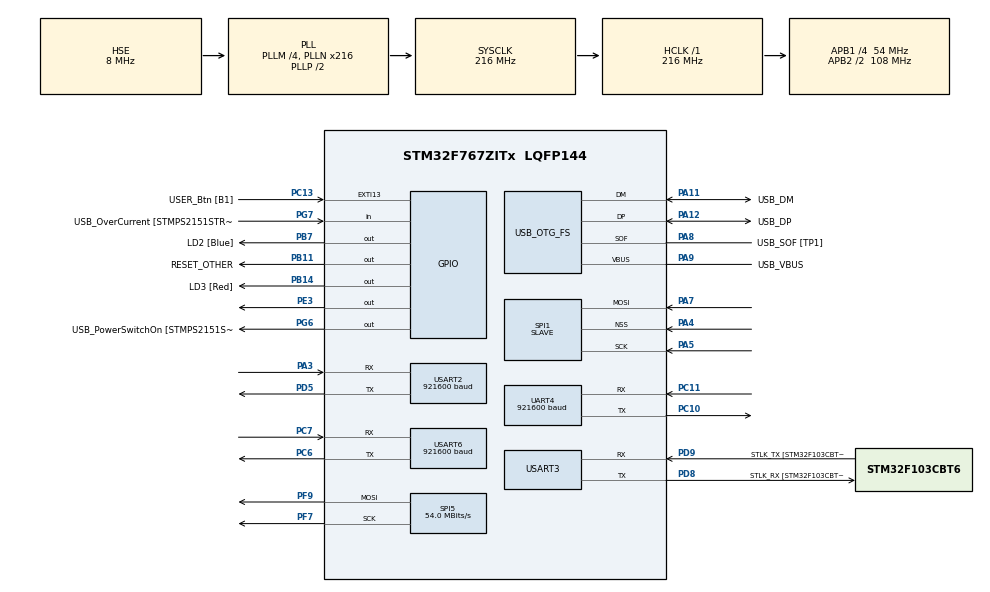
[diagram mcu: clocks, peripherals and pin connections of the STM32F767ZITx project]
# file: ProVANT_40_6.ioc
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Dma.Request0=USART6_RX
Dma.Request1=SPI1_RX
Dma.Request2=USART2_RX
Dma.Request3=UART4_RX
Dma.SPI1_RX.1.Direction=DMA_PERIPH_TO_MEMORY
Dma.SPI1_RX.1.FIFOMode=DMA_FIFOMODE_DISABLE
Dma.SPI1_RX.1.Instance=DMA2_Stream0
Dma.SPI1_RX.1.MemDataAlignment=DMA_MDATAALIGN_BYTE
Dma.SPI1_RX.1.MemInc=DMA_MINC_ENABLE
Dma.SPI1_RX.1.Mode=DMA_NORMAL
Dma.SPI1_RX.1.PeriphDataAlignment=DMA_PDATAALIGN_BYTE
Dma.SPI1_RX.1.PeriphInc=DMA_PINC_DISABLE
Dma.SPI1_RX.1.Priority=DMA_PRIORITY_LOW
Dma.UART4_RX.3.Direction=DMA_PERIPH_TO_MEMORY
Dma.UART4_RX.3.FIFOMode=DMA_FIFOMODE_DISABLE
Dma.UART4_RX.3.Instance=DMA1_Stream2
Dma.UART4_RX.3.MemDataAlignment=DMA_MDATAALIGN_BYTE
Dma.UART4_RX.3.MemInc=DMA_MINC_ENABLE
Dma.UART4_RX.3.Mode=DMA_NORMAL
Dma.UART4_RX.3.PeriphDataAlignment=DMA_PDATAALIGN_BYTE
Dma.UART4_RX.3.PeriphInc=DMA_PINC_DISABLE
Dma.UART4_RX.3.Priority=DMA_PRIORITY_LOW
Dma.USART2_RX.2.Direction=DMA_PERIPH_TO_MEMORY
Dma.USART2_RX.2.FIFOMode=DMA_FIFOMODE_DISABLE
Dma.USART2_RX.2.Instance=DMA1_Stream5
Dma.USART2_RX.2.MemDataAlignment=DMA_MDATAALIGN_BYTE
Dma.USART2_RX.2.MemInc=DMA_MINC_ENABLE
Dma.USART2_RX.2.Mode=DMA_NORMAL
Dma.USART2_RX.2.PeriphDataAlignment=DMA_PDATAALIGN_BYTE
Dma.USART2_RX.2.PeriphInc=DMA_PINC_DISABLE
Dma.USART2_RX.2.Priority=DMA_PRIORITY_LOW
Dma.USART6_RX.0.Direction=DMA_PERIPH_TO_MEMORY
Dma.USART6_RX.0.FIFOMode=DMA_FIFOMODE_ENABLE
Dma.USART6_RX.0.FIFOThreshold=DMA_FIFO_THRESHOLD_FULL
Dma.USART6_RX.0.Instance=DMA2_Stream1
Dma.USART6_RX.0.MemBurst=DMA_MBURST_SINGLE
Dma.USART6_RX.0.MemDataAlignment=DMA_MDATAALIGN_BYTE
Dma.USART6_RX.0.MemInc=DMA_MINC_ENABLE
Dma.USART6_RX.0.Mode=DMA_NORMAL
Dma.USART6_RX.0.PeriphBurst=DMA_PBURST_SINGLE
Dma.USART6_RX.0.PeriphDataAlignment=DMA_PDATAALIGN_BYTE
Dma.USART6_RX.0.PeriphInc=DMA_PINC_DISABLE
Dma.USART6_RX.0.Priority=DMA_PRIORITY_VERY_HIGH
FREERTOS.INCLUDE_vTaskDelayUntil=1
FREERTOS.Tasks01=defaultTask,-2,128,StartDefaultTask,Default,NULL,Dynamic,NULL,NULL;ControllerTask,0,512,Controller,Default,NULL,Dynamic,NULL,NULL
Mcu.Family=STM32F7
Mcu.Name=STM32F767ZITx
Mcu.Package=LQFP144
NVIC.DMA1_Stream2_IRQn=true\:5\:0\:false\:false\:true\:true\:false\:true
NVIC.DMA1_Stream5_IRQn=true\:5\:0\:false\:false\:true\:true\:false\:true
NVIC.DMA2_Stream0_IRQn=true\:5\:0\:false\:false\:true\:true\:false\:true
NVIC.DMA2_Stream1_IRQn=true\:5\:0\:false\:false\:true\:true\:false\:true
NVIC.PriorityGroup=NVIC_PRIORITYGROUP_4
NVIC.SPI1_IRQn=true\:5\:0\:false\:false\:true\:true\:true\:true
NVIC.SPI5_IRQn=true\:5\:0\:false\:false\:true\:true\:true\:true
NVIC.TIM1_UP_TIM10_IRQn=true\:0\:0\:false\:false\:true\:false\:false\:true
NVIC.TimeBase=TIM1_UP_TIM10_IRQn
NVIC.TimeBaseIP=TIM1
NVIC.UART4_IRQn=true\:5\:0\:false\:false\:true\:true\:true\:true
NVIC.USART6_IRQn=true\:5\:0\:true\:false\:true\:false\:true\:true
PA1.GPIO_Label=RMII_REF_CLK [LAN8742A-CZ-TR_REFCLK0]
PA1.Signal=ETH_REF_CLK
PA10.GPIO_Label=USB_ID
PA10.Signal=USB_OTG_FS_ID
PA11.GPIO_Label=USB_DM
PA11.Mode=Device_Only
PA11.Signal=USB_OTG_FS_DM
PA12.GPIO_Label=USB_DP
PA12.Mode=Device_Only
PA12.Signal=USB_OTG_FS_DP
PA13.GPIO_Label=TMS
PA13.Mode=Serial_Wire
PA13.Signal=SYS_JTMS-SWDIO
PA14.GPIO_Label=TCK
PA14.Mode=Serial_Wire
PA14.Signal=SYS_JTCK-SWCLK
PA2.GPIO_Label=RMII_MDIO [LAN8742A-CZ-TR_MDIO]
PA2.Signal=ETH_MDIO
PA3.Mode=Asynchronous
PA3.Signal=USART2_RX
PA4.Mode=NSS_Signal_Hard_Input
PA4.Signal=SPI1_NSS
PA5.Mode=RX_Only_Simplex_Unidirect_Slave
PA5.Signal=SPI1_SCK
PA7.Mode=RX_Only_Simplex_Unidirect_Slave
PA7.Signal=SPI1_MOSI
PA8.GPIO_Label=USB_SOF [TP1]
PA8.Mode=Activate_SOF_FS
PA8.Signal=USB_OTG_FS_SOF
PA9.GPIO_Label=USB_VBUS
PA9.Mode=Activate_VBUS
PA9.Signal=USB_OTG_FS_VBUS
PB11.GPIO_Label=RESET_OTHER
PB11.GPIO_Speed=GPIO_SPEED_FREQ_LOW
PB11.PinState=GPIO_PIN_SET
PB11.Signal=GPIO_Output
PB13.GPIO_Label=RMII_TXD1 [LAN8742A-CZ-TR_TXD1]
PB13.Signal=ETH_TXD1
PB14.GPIO_Label=LD3 [Red]
PB14.Signal=GPIO_Output
PB3.GPIO_Label=SWO
PB3.Signal=SYS_JTDO-SWO
PB7.GPIO_Label=LD2 [Blue]
PB7.Signal=GPIO_Output
PC1.GPIO_Label=RMII_MDC [LAN8742A-CZ-TR_MDC]
PC1.Signal=ETH_MDC
PC10.Mode=Asynchronous
PC10.Signal=UART4_TX
PC11.Mode=Asynchronous
PC11.Signal=UART4_RX
PC13.GPIO_Label=USER_Btn [B1]
PC13.Signal=GPXTI13
PC14/OSC32_IN.Mode=LSE-External-Oscillator
PC14/OSC32_IN.Signal=RCC_OSC32_IN
PC15/OSC32_OUT.Mode=LSE-External-Oscillator
PC15/OSC32_OUT.Signal=RCC_OSC32_OUT
PC4.GPIO_Label=RMII_RXD0 [LAN8742A-CZ-TR_RXD0]
PC4.Signal=ETH_RXD0
PC5.GPIO_Label=RMII_RXD1 [LAN8742A-CZ-TR_RXD1]
PC5.Signal=ETH_RXD1
PC6.GPIO_PuPd=GPIO_NOPULL
PC6.Mode=Asynchronous
PC6.Signal=USART6_TX
PC7.GPIO_PuPd=GPIO_PULLDOWN
PC7.Mode=Asynchronous
PC7.Signal=USART6_RX
PD5.Mode=Asynchronous
PD5.Signal=USART2_TX
PD8.GPIO_Label=STLK_RX [STM32F103CBT6_PA3]
PD8.Mode=Asynchronous
PD8.Signal=USART3_TX
PD9.GPIO_Label=STLK_TX [STM32F103CBT6_PA2]
PD9.Mode=Asynchronous
PD9.Signal=USART3_RX
PE3.PinState=GPIO_PIN_SET
PE3.Signal=GPIO_Output
PF7.Mode=TX_Only_Simplex_Unidirect_Master
PF7.Signal=SPI5_SCK
PF9.Mode=TX_Only_Simplex_Unidirect_Master
PF9.Signal=SPI5_MOSI
PG11.GPIO_Label=RMII_TX_EN [LAN8742A-CZ-TR_TXEN]
PG11.Signal=ETH_TX_EN
PG13.GPIO_Label=RMII_TXD0 [LAN8742A-CZ-TR_TXD0]
PG13.Signal=ETH_TXD0
PG6.GPIO_Label=USB_PowerSwitchOn [STMPS2151STR_EN]
PG6.Signal=GPIO_Output
PG7.GPIO_Label=USB_OverCurrent [STMPS2151STR_FAULT]
PG7.Signal=GPIO_Input
PH0/OSC_IN.GPIO_Label=MCO [STM32F103CBT6_PA8]
PH0/OSC_IN.Mode=HSE-External-Clock-Source
PH0/OSC_IN.Signal=RCC_OSC_IN
PH1/OSC_OUT.Mode=HSE-External-Clock-Source
PH1/OSC_OUT.Signal=RCC_OSC_OUT
ProjectManager.HeapSize=0x200
ProjectManager.StackSize=0x400
ProjectManager.TargetToolchain=SW4STM32
RCC.48MHZClocksFreq_Value=24000000
RCC.AHBFreq_Value=216000000
RCC.APB1CLKDivider=RCC_HCLK_DIV4
RCC.APB1Freq_Value=54000000
RCC.APB1TimFreq_Value=108000000
RCC.APB2CLKDivider=RCC_HCLK_DIV2
RCC.APB2Freq_Value=108000000
RCC.APB2TimFreq_Value=216000000
RCC.CortexFreq_Value=216000000
RCC.HCLKFreq_Value=216000000
RCC.HSE_VALUE=8000000
RCC.HSI_VALUE=16000000
RCC.PLLM=4
RCC.PLLMUL=RCC_PLL_MUL9
RCC.PLLN=216
RCC.PLLQ=9
RCC.PRESCALERUSB=RCC_USBCLKSOURCE_PLL_DIV1_5
RCC.SYSCLKFreq_VALUE=216000000
RCC.SYSCLKSource=RCC_SYSCLKSOURCE_PLLCLK
RCC.SYSCLKSourceVirtual=RCC_SYSCLKSOURCE_PLLCLK
RCC.USBFreq_Value=48000000
RCC.VCOOutputFreq_Value=432000000
SPI1.DataSize=SPI_DATASIZE_8BIT
SPI1.Direction=SPI_DIRECTION_2LINES_RXONLY
SPI1.Mode=SPI_MODE_SLAVE
SPI1.VirtualNSS=VM_NSSHARD
SPI1.VirtualType=VM_SLAVE
SPI5.CalculateBaudRate=54.0 MBits/s
SPI5.DataSize=SPI_DATASIZE_8BIT
SPI5.Direction=SPI_DIRECTION_2LINES
SPI5.Mode=SPI_MODE_MASTER
SPI5.VirtualType=VM_MASTER
UART4.BaudRate=921600
USART2.BaudRate=921600
USART2.VirtualMode-Asynchronous=VM_ASYNC
USART3.VirtualMode-Asynchronous=VM_ASYNC
USART6.BaudRate=921600
USART6.VirtualMode-Asynchronous=VM_ASYNC
USB_OTG_FS.VirtualMode=Device_Only
VP_FREERTOS_VS_CMSIS_V1.Mode=CMSIS_V1
VP_SYS_VS_tim1.Mode=TIM1
board=NUCLEO-F767ZI

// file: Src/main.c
/* USER CODE BEGIN Header */
/**
  ******************************************************************************
  * @file           : main.c
  * @brief          : Main program body
  ******************************************************************************
  * @attention
  *
  * <h2><center>&copy; Copyright (c) 2019 STMicroelectronics.
  * All rights reserved.</center></h2>
  *
  * This software component is licensed by ST under BSD 3-Clause license,
  * the "License"; You may not use this file except in compliance with the
  * License. You may obtain a copy of the License at:
  *                        opensource.org/licenses/BSD-3-Clause
  *
  ******************************************************************************
  */
/* USER CODE END Header */

#include <HIL&Jetson protocol/c_common_frame.h>
#include <HIL&Jetson protocol/uart.h>
#include "main.h"
#include "cmsis_os.h"

/* USER CODE BEGIN Includes */
#include "pv_typedefs.h"
#include "LQR4.h"
#include <stdio.h>
#include <stdlib.h>
/* USER CODE END Includes */

/* USER CODE BEGIN PD */
#define MODULE_PERIOD	   10

/* USER CODE END PD */

SPI_HandleTypeDef hspi1;
SPI_HandleTypeDef hspi5;
DMA_HandleTypeDef hdma_spi1_rx;

UART_HandleTypeDef huart4;
UART_HandleTypeDef huart2;
UART_HandleTypeDef huart3;
UART_HandleTypeDef huart6;
DMA_HandleTypeDef hdma_uart4_rx;
DMA_HandleTypeDef hdma_usart2_rx;
DMA_HandleTypeDef hdma_usart6_rx;

PCD_HandleTypeDef hpcd_USB_OTG_FS;

osThreadId defaultTaskHandle;
osThreadId ControllerTaskHandle;
/* USER CODE BEGIN PV */
uint8_t data_get_uart4;
unsigned char usart4_recv_buffer[RECV_BUFFER_SIZE]; //! Ring-Buffer de recebimento de USART6.
int usart4_rb_in  = 0; //! Index do Ring-Buffer para recebimento na USART6.
int usart4_rb_out = 0; //! Index para leitura do Ring-Buffer da USART6.
int usart4_available_flag = 0; //! Flag de recebimento de USART6.

uint8_t data_get_uart6;
unsigned char usart6_recv_buffer[RECV_BUFFER_SIZE]; //! Ring-Buffer de recebimento de USART6.
int usart6_rb_in  = 0; //! Index do Ring-Buffer para recebimento na USART6.
int usart6_rb_out = 0; //! Index para leitura do Ring-Buffer da USART6.
int usart6_available_flag = 0; //! Flag de recebimento de USART6.

int num = 0;
int num2 = 0;
int num3[100];
float low = 0.0; // variável cque define o nivel de embarcado que executa lei de controle (1 = baixo nivel, 0 = alto nivel)
int boss = 0; // indica se a placa será a placa primária

Frame c_io_protocolP2P_receive6();
Frame c_io_protocolP2P_receive4();
int c_common_usart_available6();
int c_common_usart_available4();
unsigned char c_common_usart_read6();
unsigned char c_common_usart_read4();

pv_msg_controlOutput ControlOutputData;
pv_msg_controlOutput ControlOutputData2;

/* USER CODE END PV */

void SystemClock_Config(void);
static void MX_GPIO_Init(void);
static void MX_DMA_Init(void);
static void MX_USART6_UART_Init(void);
static void MX_USB_OTG_FS_PCD_Init(void);
static void MX_USART3_UART_Init(void);
static void MX_SPI1_Init(void);
static void MX_SPI5_Init(void);
static void MX_USART2_UART_Init(void);
static void MX_UART4_Init(void);
void StartDefaultTask(void const * argument);
void Controller(void const * argument);

/* USER CODE BEGIN PFP */
void HAL_SPI_RxCpltCallback (SPI_HandleTypeDef *hspi);
/* USER CODE END PFP */

/* USER CODE BEGIN 0 */
//extern void initialise_monitor_handles();
uint8_t buffer[200];
__IO ITStatus UartReady = RESET;
__IO ITStatus SPIReady = RESET;
uint8_t data_get;
int fault = 0;
/* USER CODE END 0 */

int main(void)
{
  /* USER CODE BEGIN 1 */
	//initialise_monitor_handles();
	//printf("Começou programa!\n");
    //DWT->CTRL |= (1 << 0); // Enable CYCCNT in DWN_CTRL
  /* USER CODE END 1 */

  /* MCU Configuration--------------------------------------------------------*/

  /* Reset of all peripherals, Initializes the Flash interface and the Systick. */
  HAL_Init();

  /* Configure the system clock */
  SystemClock_Config();

  /* Initialize all configured peripherals */
  MX_GPIO_Init();
  MX_DMA_Init();
  MX_USART6_UART_Init();
  MX_USB_OTG_FS_PCD_Init();
  MX_USART3_UART_Init();
  MX_SPI1_Init();
  MX_SPI5_Init();
  MX_USART2_UART_Init();
  MX_UART4_Init();
  /* USER CODE BEGIN 2 */
  //HAL_UART_Receive_DMA(&huart4, &data_get_uart4, 1);
  //HAL_UART_Receive_DMA(&huart6, &data_get_uart6, 1);
  HAL_GPIO_WritePin(GPIOB, LD2_Pin, GPIO_PIN_SET);
  /* USER CODE END 2 */

  /* Create the thread(s) */
  /* definition and creation of defaultTask */
  //osThreadDef(defaultTask, StartDefaultTask, osPriorityLow, 0, 128);
  //defaultTaskHandle = osThreadCreate(osThread(defaultTask), NULL);

  /* definition and creation of ControllerTask */
  osThreadDef(ControllerTask, Controller, osPriorityNormal, 0, 512);
  ControllerTaskHandle = osThreadCreate(osThread(ControllerTask), NULL);

  /* Start scheduler */
  osKernelStart();

  /* We should never get here as control is now taken by the scheduler */

  /* Infinite loop */
  /* USER CODE BEGIN WHILE */
  //c_io_protocolP2P_init(&huart6);

  while (1)
  {

    /* USER CODE END WHILE */

  }
}

void SystemClock_Config(void)
{
  RCC_OscInitTypeDef RCC_OscInitStruct = {0};
  RCC_ClkInitTypeDef RCC_ClkInitStruct = {0};
  RCC_PeriphCLKInitTypeDef PeriphClkInitStruct = {0};

  /** Configure LSE Drive Capability
  */
  HAL_PWR_EnableBkUpAccess();
  /** Configure the main internal regulator output voltage
  */
  __HAL_RCC_PWR_CLK_ENABLE();
  __HAL_PWR_VOLTAGESCALING_CONFIG(PWR_REGULATOR_VOLTAGE_SCALE1);
  /** Initializes the CPU, AHB and APB busses clocks
  */
  RCC_OscInitStruct.OscillatorType = RCC_OSCILLATORTYPE_HSE;
  RCC_OscInitStruct.HSEState = RCC_HSE_BYPASS;
  RCC_OscInitStruct.PLL.PLLState = RCC_PLL_ON;
  RCC_OscInitStruct.PLL.PLLSource = RCC_PLLSOURCE_HSE;
  RCC_OscInitStruct.PLL.PLLM = 4;
  RCC_OscInitStruct.PLL.PLLN = 216;
  RCC_OscInitStruct.PLL.PLLP = RCC_PLLP_DIV2;
  RCC_OscInitStruct.PLL.PLLQ = 9;
  if (HAL_RCC_OscConfig(&RCC_OscInitStruct) != HAL_OK)
  {
    Error_Handler();
  }
  /** Activate the Over-Drive mode
  */
  if (HAL_PWREx_EnableOverDrive() != HAL_OK)
  {
    Error_Handler();
  }
  /** Initializes the CPU, AHB and APB busses clocks
  */
  RCC_ClkInitStruct.ClockType = RCC_CLOCKTYPE_HCLK|RCC_CLOCKTYPE_SYSCLK
                              |RCC_CLOCKTYPE_PCLK1|RCC_CLOCKTYPE_PCLK2;
  RCC_ClkInitStruct.SYSCLKSource = RCC_SYSCLKSOURCE_PLLCLK;
  RCC_ClkInitStruct.AHBCLKDivider = RCC_SYSCLK_DIV1;
  RCC_ClkInitStruct.APB1CLKDivider = RCC_HCLK_DIV4;
  RCC_ClkInitStruct.APB2CLKDivider = RCC_HCLK_DIV2;

  if (HAL_RCC_ClockConfig(&RCC_ClkInitStruct, FLASH_LATENCY_7) != HAL_OK)
  {
    Error_Handler();
  }
  PeriphClkInitStruct.PeriphClockSelection = RCC_PERIPHCLK_USART2|RCC_PERIPHCLK_USART3
                              |RCC_PERIPHCLK_USART6|RCC_PERIPHCLK_UART4
                              |RCC_PERIPHCLK_CLK48;
  PeriphClkInitStruct.Usart2ClockSelection = RCC_USART2CLKSOURCE_PCLK1;
  PeriphClkInitStruct.Usart3ClockSelection = RCC_USART3CLKSOURCE_PCLK1;
  PeriphClkInitStruct.Uart4ClockSelection = RCC_UART4CLKSOURCE_PCLK1;
  PeriphClkInitStruct.Usart6ClockSelection = RCC_USART6CLKSOURCE_PCLK2;
  PeriphClkInitStruct.Clk48ClockSelection = RCC_CLK48SOURCE_PLL;
  if (HAL_RCCEx_PeriphCLKConfig(&PeriphClkInitStruct) != HAL_OK)
  {
    Error_Handler();
  }
}

static void MX_SPI1_Init(void)
{

  /* SPI1 parameter configuration*/
  hspi1.Instance = SPI1;
  hspi1.Init.Mode = SPI_MODE_SLAVE;
  hspi1.Init.Direction = SPI_DIRECTION_2LINES_RXONLY;
  hspi1.Init.DataSize = SPI_DATASIZE_8BIT;
  hspi1.Init.CLKPolarity = SPI_POLARITY_LOW;
  hspi1.Init.CLKPhase = SPI_PHASE_1EDGE;
  hspi1.Init.NSS = SPI_NSS_HARD_INPUT;
  hspi1.Init.FirstBit = SPI_FIRSTBIT_MSB;
  hspi1.Init.TIMode = SPI_TIMODE_DISABLE;
  hspi1.Init.CRCCalculation = SPI_CRCCALCULATION_DISABLE;
  hspi1.Init.CRCPolynomial = 7;
  hspi1.Init.CRCLength = SPI_CRC_LENGTH_DATASIZE;
  hspi1.Init.NSSPMode = SPI_NSS_PULSE_DISABLE;
  if (HAL_SPI_Init(&hspi1) != HAL_OK)
  {
    Error_Handler();
  }

}

static void MX_SPI5_Init(void)
{

  /* SPI5 parameter configuration*/
  hspi5.Instance = SPI5;
  hspi5.Init.Mode = SPI_MODE_MASTER;
  hspi5.Init.Direction = SPI_DIRECTION_2LINES;
  hspi5.Init.DataSize = SPI_DATASIZE_8BIT;
  hspi5.Init.CLKPolarity = SPI_POLARITY_LOW;
  hspi5.Init.CLKPhase = SPI_PHASE_1EDGE;
  hspi5.Init.NSS = SPI_NSS_SOFT;
  hspi5.Init.BaudRatePrescaler = SPI_BAUDRATEPRESCALER_2;
  hspi5.Init.FirstBit = SPI_FIRSTBIT_MSB;
  hspi5.Init.TIMode = SPI_TIMODE_DISABLE;
  hspi5.Init.CRCCalculation = SPI_CRCCALCULATION_DISABLE;
  hspi5.Init.CRCPolynomial = 7;
  hspi5.Init.CRCLength = SPI_CRC_LENGTH_DATASIZE;
  hspi5.Init.NSSPMode = SPI_NSS_PULSE_ENABLE;
  if (HAL_SPI_Init(&hspi5) != HAL_OK)
  {
    Error_Handler();
  }

}

static void MX_UART4_Init(void)
{

  huart4.Instance = UART4;
  //huart4.Init.BaudRate = 921600;
  huart4.Init.BaudRate = 460800;
  huart4.Init.WordLength = UART_WORDLENGTH_8B;
  huart4.Init.StopBits = UART_STOPBITS_1;
  huart4.Init.Parity = UART_PARITY_NONE;
  huart4.Init.Mode = UART_MODE_TX_RX;
  huart4.Init.HwFlowCtl = UART_HWCONTROL_NONE;
  huart4.Init.OverSampling = UART_OVERSAMPLING_16;
  huart4.Init.OneBitSampling = UART_ONE_BIT_SAMPLE_DISABLE;
  huart4.AdvancedInit.AdvFeatureInit = UART_ADVFEATURE_NO_INIT;
  if (HAL_UART_Init(&huart4) != HAL_OK)
  {
    Error_Handler();
  }

}

static void MX_USART2_UART_Init(void)
{

  huart2.Instance = USART2;
  huart2.Init.BaudRate = 921600;
  huart2.Init.WordLength = UART_WORDLENGTH_8B;
  huart2.Init.StopBits = UART_STOPBITS_1;
  huart2.Init.Parity = UART_PARITY_NONE;
  huart2.Init.Mode = UART_MODE_TX_RX;
  huart2.Init.HwFlowCtl = UART_HWCONTROL_NONE;
  huart2.Init.OverSampling = UART_OVERSAMPLING_16;
  huart2.Init.OneBitSampling = UART_ONE_BIT_SAMPLE_DISABLE;
  huart2.AdvancedInit.AdvFeatureInit = UART_ADVFEATURE_NO_INIT;
  if (HAL_UART_Init(&huart2) != HAL_OK)
  {
    Error_Handler();
  }

}

static void MX_USART3_UART_Init(void)
{

  huart3.Instance = USART3;
  huart3.Init.BaudRate = 115200;
  huart3.Init.WordLength = UART_WORDLENGTH_8B;
  huart3.Init.StopBits = UART_STOPBITS_1;
  huart3.Init.Parity = UART_PARITY_NONE;
  huart3.Init.Mode = UART_MODE_TX_RX;
  huart3.Init.HwFlowCtl = UART_HWCONTROL_NONE;
  huart3.Init.OverSampling = UART_OVERSAMPLING_16;
  huart3.Init.OneBitSampling = UART_ONE_BIT_SAMPLE_DISABLE;
  huart3.AdvancedInit.AdvFeatureInit = UART_ADVFEATURE_NO_INIT;
  if (HAL_UART_Init(&huart3) != HAL_OK)
  {
    Error_Handler();
  }

}

static void MX_USART6_UART_Init(void)
{

  huart6.Instance = USART6;
  huart6.Init.BaudRate = 921600;
  huart6.Init.WordLength = UART_WORDLENGTH_8B;
  huart6.Init.StopBits = UART_STOPBITS_1;
  huart6.Init.Parity = UART_PARITY_NONE;
  huart6.Init.Mode = UART_MODE_TX_RX;
  huart6.Init.HwFlowCtl = UART_HWCONTROL_NONE;
  huart6.Init.OverSampling = UART_OVERSAMPLING_16;
  huart6.Init.OneBitSampling = UART_ONE_BIT_SAMPLE_DISABLE;
  huart6.AdvancedInit.AdvFeatureInit = UART_ADVFEATURE_NO_INIT;
  if (HAL_UART_Init(&huart6) != HAL_OK)
  {
    Error_Handler();
  }

}

static void MX_USB_OTG_FS_PCD_Init(void)
{

  hpcd_USB_OTG_FS.Instance = USB_OTG_FS;
  hpcd_USB_OTG_FS.Init.dev_endpoints = 6;
  hpcd_USB_OTG_FS.Init.speed = PCD_SPEED_FULL;
  hpcd_USB_OTG_FS.Init.dma_enable = DISABLE;
  hpcd_USB_OTG_FS.Init.phy_itface = PCD_PHY_EMBEDDED;
  hpcd_USB_OTG_FS.Init.Sof_enable = ENABLE;
  hpcd_USB_OTG_FS.Init.low_power_enable = DISABLE;
  hpcd_USB_OTG_FS.Init.lpm_enable = DISABLE;
  hpcd_USB_OTG_FS.Init.vbus_sensing_enable = ENABLE;
  hpcd_USB_OTG_FS.Init.use_dedicated_ep1 = DISABLE;
  if (HAL_PCD_Init(&hpcd_USB_OTG_FS) != HAL_OK)
  {
    Error_Handler();
  }

}

static void MX_DMA_Init(void)
{

  /* DMA controller clock enable */
  __HAL_RCC_DMA2_CLK_ENABLE();
  __HAL_RCC_DMA1_CLK_ENABLE();

  /* DMA interrupt init */
  /* DMA1_Stream2_IRQn interrupt configuration */
  HAL_NVIC_SetPriority(DMA1_Stream2_IRQn, 5, 0);
  HAL_NVIC_EnableIRQ(DMA1_Stream2_IRQn);
  /* DMA1_Stream5_IRQn interrupt configuration */
  HAL_NVIC_SetPriority(DMA1_Stream5_IRQn, 5, 0);
  HAL_NVIC_EnableIRQ(DMA1_Stream5_IRQn);
  /* DMA2_Stream0_IRQn interrupt configuration */
  HAL_NVIC_SetPriority(DMA2_Stream0_IRQn, 5, 0);
  HAL_NVIC_EnableIRQ(DMA2_Stream0_IRQn);
  /* DMA2_Stream1_IRQn interrupt configuration */
  HAL_NVIC_SetPriority(DMA2_Stream1_IRQn, 5, 0);
  HAL_NVIC_EnableIRQ(DMA2_Stream1_IRQn);

}

static void MX_GPIO_Init(void)
{
  GPIO_InitTypeDef GPIO_InitStruct = {0};

  /* GPIO Ports Clock Enable */
  __HAL_RCC_GPIOE_CLK_ENABLE();
  __HAL_RCC_GPIOC_CLK_ENABLE();
  __HAL_RCC_GPIOF_CLK_ENABLE();
  __HAL_RCC_GPIOH_CLK_ENABLE();
  __HAL_RCC_GPIOA_CLK_ENABLE();
  __HAL_RCC_GPIOB_CLK_ENABLE();
  __HAL_RCC_GPIOD_CLK_ENABLE();
  __HAL_RCC_GPIOG_CLK_ENABLE();

  /*Configure GPIO pin Output Level */
  HAL_GPIO_WritePin(GPIOE, GPIO_PIN_3, GPIO_PIN_SET);

  /*Configure GPIO pin Output Level */
  HAL_GPIO_WritePin(RESET_OTHER_GPIO_Port, RESET_OTHER_Pin, GPIO_PIN_SET);

  /*Configure GPIO pin Output Level */
  HAL_GPIO_WritePin(GPIOB, LD3_Pin|LD2_Pin, GPIO_PIN_RESET);

  /*Configure GPIO pin Output Level */
  HAL_GPIO_WritePin(USB_PowerSwitchOn_GPIO_Port, USB_PowerSwitchOn_Pin, GPIO_PIN_RESET);

  /*Configure GPIO pin : PE3 */
  GPIO_InitStruct.Pin = GPIO_PIN_3;
  GPIO_InitStruct.Mode = GPIO_MODE_OUTPUT_PP;
  GPIO_InitStruct.Pull = GPIO_NOPULL;
  GPIO_InitStruct.Speed = GPIO_SPEED_FREQ_LOW;
  HAL_GPIO_Init(GPIOE, &GPIO_InitStruct);

  /*Configure GPIO pin : USER_Btn_Pin */
  GPIO_InitStruct.Pin = USER_Btn_Pin;
  GPIO_InitStruct.Mode = GPIO_MODE_IT_RISING;
  GPIO_InitStruct.Pull = GPIO_NOPULL;
  HAL_GPIO_Init(USER_Btn_GPIO_Port, &GPIO_InitStruct);

  /*Configure GPIO pins : RMII_MDC_Pin RMII_RXD0_Pin RMII_RXD1_Pin */
  GPIO_InitStruct.Pin = RMII_MDC_Pin|RMII_RXD0_Pin|RMII_RXD1_Pin;
  GPIO_InitStruct.Mode = GPIO_MODE_AF_PP;
  GPIO_InitStruct.Pull = GPIO_NOPULL;
  GPIO_InitStruct.Speed = GPIO_SPEED_FREQ_VERY_HIGH;
  GPIO_InitStruct.Alternate = GPIO_AF11_ETH;
  HAL_GPIO_Init(GPIOC, &GPIO_InitStruct);

  /*Configure GPIO pins : RMII_REF_CLK_Pin RMII_MDIO_Pin */
  GPIO_InitStruct.Pin = RMII_REF_CLK_Pin|RMII_MDIO_Pin;
  GPIO_InitStruct.Mode = GPIO_MODE_AF_PP;
  GPIO_InitStruct.Pull = GPIO_NOPULL;
  GPIO_InitStruct.Speed = GPIO_SPEED_FREQ_VERY_HIGH;
  GPIO_InitStruct.Alternate = GPIO_AF11_ETH;
  HAL_GPIO_Init(GPIOA, &GPIO_InitStruct);

  /*Configure GPIO pins : RESET_OTHER_Pin LD3_Pin LD2_Pin */
  GPIO_InitStruct.Pin = RESET_OTHER_Pin|LD3_Pin|LD2_Pin;
  GPIO_InitStruct.Mode = GPIO_MODE_OUTPUT_PP;
  GPIO_InitStruct.Pull = GPIO_NOPULL;
  GPIO_InitStruct.Speed = GPIO_SPEED_FREQ_LOW;
  HAL_GPIO_Init(GPIOB, &GPIO_InitStruct);

  /*Configure GPIO pin : RMII_TXD1_Pin */
  GPIO_InitStruct.Pin = RMII_TXD1_Pin;
  GPIO_InitStruct.Mode = GPIO_MODE_AF_PP;
  GPIO_InitStruct.Pull = GPIO_NOPULL;
  GPIO_InitStruct.Speed = GPIO_SPEED_FREQ_VERY_HIGH;
  GPIO_InitStruct.Alternate = GPIO_AF11_ETH;
  HAL_GPIO_Init(RMII_TXD1_GPIO_Port, &GPIO_InitStruct);

  /*Configure GPIO pin : USB_PowerSwitchOn_Pin */
  GPIO_InitStruct.Pin = USB_PowerSwitchOn_Pin;
  GPIO_InitStruct.Mode = GPIO_MODE_OUTPUT_PP;
  GPIO_InitStruct.Pull = GPIO_NOPULL;
  GPIO_InitStruct.Speed = GPIO_SPEED_FREQ_LOW;
  HAL_GPIO_Init(USB_PowerSwitchOn_GPIO_Port, &GPIO_InitStruct);

  /*Configure GPIO pin : USB_OverCurrent_Pin */
  GPIO_InitStruct.Pin = USB_OverCurrent_Pin;
  GPIO_InitStruct.Mode = GPIO_MODE_INPUT;
  GPIO_InitStruct.Pull = GPIO_NOPULL;
  HAL_GPIO_Init(USB_OverCurrent_GPIO_Port, &GPIO_InitStruct);

  /*Configure GPIO pins : RMII_TX_EN_Pin RMII_TXD0_Pin */
  GPIO_InitStruct.Pin = RMII_TX_EN_Pin|RMII_TXD0_Pin;
  GPIO_InitStruct.Mode = GPIO_MODE_AF_PP;
  GPIO_InitStruct.Pull = GPIO_NOPULL;
  GPIO_InitStruct.Speed = GPIO_SPEED_FREQ_VERY_HIGH;
  GPIO_InitStruct.Alternate = GPIO_AF11_ETH;
  HAL_GPIO_Init(GPIOG, &GPIO_InitStruct);

}

/* USER CODE BEGIN 4 */

void HAL_UART_RxCpltCallback(UART_HandleTypeDef *huart)
{
	if (huart->Instance == huart6.Instance){
		usart6_available_flag = 1;
		usart6_recv_buffer[usart6_rb_in] = data_get_uart6;
		if(usart6_rb_in < RECV_BUFFER_SIZE-1) usart6_rb_in++;
		else	usart6_rb_in = 0;
		HAL_UART_Receive_DMA(&huart6, &data_get_uart6, 1);

		}
	if (huart->Instance == huart4.Instance){
			usart4_available_flag = 1;
			usart4_recv_buffer[usart4_rb_in] = data_get_uart4;
			if(usart4_rb_in < RECV_BUFFER_SIZE-1) usart4_rb_in++;
			else	usart4_rb_in = 0;
			HAL_UART_Receive_DMA(&huart4, &data_get_uart4, 1);
			}
}

unsigned char c_common_usart_read6() {
		uint8_t ret = usart6_recv_buffer[usart6_rb_out];
		if(usart6_rb_out < RECV_BUFFER_SIZE-1) usart6_rb_out++;
		else	usart6_rb_out = 0;
		if(usart6_rb_in == usart6_rb_out) usart6_available_flag = false;
		return ret;
}

unsigned char c_common_usart_read4() {
		uint8_t ret = usart4_recv_buffer[usart4_rb_out];
		if(usart4_rb_out < RECV_BUFFER_SIZE-1) usart4_rb_out++;
		else	usart4_rb_out = 0;
		if(usart4_rb_in == usart4_rb_out) usart4_available_flag = false;
		return ret;
}

int c_common_usart_available6() {
	return usart6_available_flag;
}

int c_common_usart_available4() {
	return usart4_available_flag;
}

Frame c_io_protocolP2P_receive4()
{
	Frame frame = frame_create();
	u8 header = frame.header;
	u8 end = frame.end;
	i32  status = 0;
	u8 last = 'a';
	int fim  = 0;
	int finst = 0;

	while(!fim)
	{
		// timeout = 2 periodos de amostragem
		while(!c_common_usart_available4())
		{
			int i  = HAL_GetTick();
			int sub = i - num;
			if(sub > 1*MODULE_PERIOD)
			{
				//printf("Falha!\n");
				fault++;
				finst = 1;
				if(fault > 2){
					//printf("Falha total!\n");
					low = 3.0;
				}
				break;
			}
		 }
		 //if(low==1) break;
		 if(finst==1)
		 {
			 finst = 0;
			 break;
		 }

		if(c_common_usart_available4())
		{
			fault=0;

			char b[1];
			b[0] = c_common_usart_read4();

			switch(status)
			{
				case 1:
					if (b[0] == last && last == header && header == end)
						break;
					if (b[0] != end) frame_addByte(&frame,b[0]);
					if (b[0] == end)
					{
							frame_addEnd(&frame);
							status = 0;
							fim = 1;
					}
					break;
				case 0:
					if (b[0] == header)
					{
						frame_addHeader(&frame);
						status = 1;
					}
					break;
			}
			last = b[0];
		}
	}

	return frame;
}

Frame c_io_protocolP2P_receive6()
{
	Frame frame = frame_create();
	u8 header = frame.header;
	u8 end = frame.end;
	i32  status = 0;
	u8 last = 'a';
	int fim  = 0;

	while(!fim)
	{
		if(c_common_usart_available6())
		{
			char b[1];
			b[0] = c_common_usart_read6();

			switch(status)
			{
				case 1:
					if (b[0] == last && last == header && header == end)
						break;
					if (b[0] != end) frame_addByte(&frame,b[0]);
					if (b[0] == end)
					{
							frame_addEnd(&frame);
							status = 0;
							fim = 1;
					}
					break;
				case 0:
					if (b[0] == header)
					{
						frame_addHeader(&frame);
						status = 1;
					}
					break;
			}
			last = b[0];
		}
	}
	return frame;
}

void HAL_SPI_RxCpltCallback(SPI_HandleTypeDef *hspi)
{
	if (hspi->Instance == hspi1.Instance){
		SPIReady = SET;

		HAL_SPI_Receive_IT(&hspi1, &data_get, 4);
	}
}
/* USER CODE END 4 */

void StartDefaultTask(void const * argument)
{

  for(;;)
  {
  }
}

void Controller(void const * argument)
{
  /* USER CODE BEGIN Controller */
		int sample=0;

		pv_msg_input InputData;
		portTickType lastWakeTime;
		c_control_lqr4_init();

		HAL_SPI_Receive_IT(&hspi1, &data_get, 4);

		// tempo para garantir que as placas estão de comunicando
		HAL_Delay(50);
	  /* Infinite loop */
		int cont = 0;
		int p;
		for(;;)
	  {
			if(cont%500==0)
			{
				if(p==0)
				{
					InputData.position_reference.x = 0;
					InputData.position_reference.y = 0;
					InputData.position_reference.z = 2;
					InputData.position_reference.dotX = 0;
					InputData.position_reference.dotY = 0;
					InputData.position_reference.dotZ = 0;
					InputData.attitude_reference.roll = 0;
					InputData.attitude_reference.pitch = -0.578;
					InputData.attitude_reference.yaw = 0;
					InputData.attitude_reference.dotRoll = 0;
					InputData.attitude_reference.dotPitch = 0;
					InputData.attitude_reference.dotYaw = 0;
					p = 1;
				}
				else
				{
					InputData.position_reference.x = 0;
					InputData.position_reference.y = 0;
					InputData.position_reference.z = 2.2;
					InputData.position_reference.dotX = 0;
					InputData.position_reference.dotY = 0;
					InputData.position_reference.dotZ = 0;
					InputData.attitude_reference.roll = 0;
					InputData.attitude_reference.pitch = -0.578;
					InputData.attitude_reference.yaw = 0;
					InputData.attitude_reference.dotRoll = 0;
					InputData.attitude_reference.dotPitch = 0;
					InputData.attitude_reference.dotYaw = 0;
					p = 0;
				}
			}

		  lastWakeTime = xTaskGetTickCount();

		  if(low > 0.0) HAL_GPIO_WritePin(GPIOB, LD2_Pin, GPIO_PIN_SET);
		  else HAL_GPIO_WritePin(GPIOB, LD2_Pin, GPIO_PIN_RESET);
		  if(boss == 1)HAL_GPIO_WritePin(GPIOB, LD3_Pin, GPIO_PIN_SET);
		  else HAL_GPIO_WritePin(GPIOB, LD3_Pin, GPIO_PIN_RESET);

			if(boss==0)
			{
				if(SPIReady==SET)
				{
					SPIReady = RESET;
					sample = 0;
				}
				else sample++;

				if(sample > 2)
				{
					sample = 0;
					// comando para virar o boss

					GPIO_InitTypeDef GPIO_InitStruct;
					GPIO_InitStruct.Pin = GPIO_PIN_6;
					GPIO_InitStruct.Mode = GPIO_MODE_AF_PP;
					GPIO_InitStruct.Pull = GPIO_NOPULL;
					GPIO_InitStruct.Speed = GPIO_SPEED_FREQ_VERY_HIGH;
					GPIO_InitStruct.Alternate = GPIO_AF8_USART6;
					HAL_GPIO_Init(GPIOC, &GPIO_InitStruct);
					HAL_UART_Receive_DMA(&huart6, &data_get_uart6, 1);

					GPIO_InitStruct.Pin = GPIO_PIN_10|GPIO_PIN_11;
					GPIO_InitStruct.Mode = GPIO_MODE_AF_PP;
					GPIO_InitStruct.Pull = GPIO_NOPULL;
					GPIO_InitStruct.Speed = GPIO_SPEED_FREQ_VERY_HIGH;
					GPIO_InitStruct.Alternate = GPIO_AF8_UART4;
					HAL_GPIO_Init(GPIOC, &GPIO_InitStruct);
					HAL_UART_Receive_DMA(&huart4, &data_get_uart4, 1);

					boss = 1;

					HAL_GPIO_WritePin(RESET_OTHER_GPIO_Port, RESET_OTHER_Pin, GPIO_PIN_RESET);
					HAL_Delay(10);
					HAL_GPIO_WritePin(RESET_OTHER_GPIO_Port, RESET_OTHER_Pin, GPIO_PIN_SET);
					// modo escrita no canal UART
				}
			}
			else
			{
				num = HAL_GetTick();

		  	  // código para solicitar informações
			  	Frame frameSend = frame_create();
			  	frame_addFloat(&frameSend, 1);
			  	frame_addFloat(&frameSend, 0);
			  	frame_addFloat(&frameSend, 0);
			  	frame_addFloat(&frameSend, 0);
			  	frame_addFloat(&frameSend, 0);
			  	frame_addFloat(&frameSend, low);

			  	frame_build(&frameSend);
			  	usart_print(&huart6,frameSend.buffer,frameSend.buffer_size);

			  	Frame frameRecv;
			  	frameRecv = c_io_protocolP2P_receive6();
			  	if(frame_unbuild(&frameRecv))
			  	{
			  		InputData.position.x  = frame_getFloat(&frameRecv);
			  		InputData.position.y  = frame_getFloat(&frameRecv);
			  		InputData.position.z  = frame_getFloat(&frameRecv);
			  		InputData.attitude.roll  = frame_getFloat(&frameRecv);
			  		InputData.attitude.pitch  = frame_getFloat(&frameRecv);
			  		InputData.attitude.yaw  = frame_getFloat(&frameRecv);
			  		InputData.servosOutput.servo.alphar = frame_getFloat(&frameRecv);
			  		InputData.servosOutput.servo.alphal = frame_getFloat(&frameRecv);
			  		InputData.position.dotX  = frame_getFloat(&frameRecv);
			  		InputData.position.dotY  = frame_getFloat(&frameRecv);
			  		InputData.position.dotZ  = frame_getFloat(&frameRecv);
			  		InputData.attitude.dotRoll  = frame_getFloat(&frameRecv);
			  		InputData.attitude.dotPitch  = frame_getFloat(&frameRecv);
			  		InputData.attitude.dotYaw  = frame_getFloat(&frameRecv);
			  		InputData.servosOutput.servo.dotAlphar = frame_getFloat(&frameRecv);
			  	    InputData.servosOutput.servo.dotAlphal = frame_getFloat(&frameRecv);

			  		if(low == 0.0)
			  		{
			  			Frame frameSend = frame_create();
			  			frame_addFloat(&frameSend, InputData.position.x);
			  			frame_addFloat(&frameSend, InputData.position.y);
			  			frame_addFloat(&frameSend, InputData.position.z);
			  			frame_addFloat(&frameSend, InputData.attitude.roll);
			  			frame_addFloat(&frameSend, InputData.attitude.pitch);
			  			frame_addFloat(&frameSend, InputData.attitude.yaw);
			  			frame_addFloat(&frameSend, InputData.servosOutput.servo.alphar);
			  			frame_addFloat(&frameSend, InputData.servosOutput.servo.alphal);
			  			frame_addFloat(&frameSend, InputData.position.dotX);
			  			frame_addFloat(&frameSend, InputData.position.dotY);
			  			frame_addFloat(&frameSend, InputData.position.dotZ);
			  			frame_addFloat(&frameSend, InputData.attitude.dotRoll);
			  			frame_addFloat(&frameSend, InputData.attitude.dotPitch);
			  			frame_addFloat(&frameSend, InputData.attitude.dotYaw);
			  			frame_addFloat(&frameSend, InputData.servosOutput.servo.dotAlphar);
			  			frame_addFloat(&frameSend, InputData.servosOutput.servo.dotAlphal);
			  			frame_addFloat(&frameSend, InputData.position_reference.x);
			  			frame_addFloat(&frameSend, InputData.position_reference.y);
			  			frame_addFloat(&frameSend, InputData.position_reference.z);
			  			/*frame_addFloat(&frameSend, InputData.position_reference.dotX);
			  			frame_addFloat(&frameSend, InputData.position_reference.dotY);
			  			frame_addFloat(&frameSend, InputData.position_reference.dotZ);
			  			frame_addFloat(&frameSend, InputData.attitude_reference.roll);
			  			frame_addFloat(&frameSend, InputData.attitude_reference.pitch);
			  			frame_addFloat(&frameSend, InputData.attitude_reference.yaw);
			  			frame_addFloat(&frameSend, InputData.attitude_reference.dotRoll);
			  			frame_addFloat(&frameSend, InputData.attitude_reference.dotPitch);
			  			frame_addFloat(&frameSend, InputData.attitude_reference.dotYaw);*/
			  			frame_build(&frameSend);
			  			usart_print(&huart4,frameSend.buffer,frameSend.buffer_size);
			  		}

			  	  // neste espaço será efetuado a detecção de malha do backup

			  	    	// enviar bytes de Watchdog
			  	    	uint8_t data_send[4];
			  	  		data_send[0] = 0;
			  	  		data_send[1] = 0;
			  	  		data_send[2] = 0;
			  	  		data_send[3] = 0;

			  	  		HAL_Delay(1);
			  	  		HAL_GPIO_WritePin(GPIOE, GPIO_PIN_3, GPIO_PIN_RESET); // habilitar
			  	  		HAL_SPI_Transmit(&hspi5, data_send, 4, 1000);
			  	  		while(HAL_SPI_GetState(&hspi5)!= HAL_SPI_STATE_READY);
			  	  		HAL_GPIO_WritePin(GPIOE, GPIO_PIN_3, GPIO_PIN_SET); // desabilitar

			  	  // fim espaço

			  	 if(low == 0.0)
			  	 {
			  		 Frame frameRecv2;
			  		 frameRecv2 = c_io_protocolP2P_receive4();

			  		 if(fault == 0)
			  		 {
			  			 if(low == 0.0)
			  			 {

			  				 if(frame_unbuild(&frameRecv2))
			  				 {
			  					 ControlOutputData.actuation.escRightNewtons = frame_getFloat(&frameRecv2);
			  					 ControlOutputData.actuation.escLeftNewtons = frame_getFloat(&frameRecv2);
			  					 ControlOutputData.actuation.servoRight = frame_getFloat(&frameRecv2);
			  					 ControlOutputData.actuation.servoLeft = frame_getFloat(&frameRecv2);
			  				 }
			  				 else
			  				 {
			  					 low = 1.0;
			  				 }
			  			 }
			  		 }
			  	 }

			  	ControlOutputData2.actuation = c_control_lqr4_controller(InputData);

			  	if(low == 0.0)
			  	{
			  		if(ControlOutputData.actuation.escRightNewtons > 5 + ControlOutputData2.actuation.escRightNewtons || ControlOutputData.actuation.escRightNewtons < -5 + ControlOutputData2.actuation.escRightNewtons)
			  		{
			  			low  = 2.0;
			  		}
			  	}

			  	if (low==0.0)
			  	{
		   		 	  Frame frame = frame_create();
		   			  frame_addFloat(&frame, 0);
		   			  frame_addFloat(&frame, ControlOutputData.actuation.escRightNewtons);
		   			  frame_addFloat(&frame, ControlOutputData.actuation.escLeftNewtons);
		   			  frame_addFloat(&frame, ControlOutputData.actuation.servoRight);
		   			  frame_addFloat(&frame, ControlOutputData.actuation.servoLeft);
		   			  frame_addFloat(&frame, low);
		   			  frame_build(&frame);
		   			  usart_print(&huart6,frame.buffer,frame.buffer_size);
			  	}
			  	else
			  	{
			  		Frame frame = frame_create();
			  		frame_addFloat(&frame, 0);
			  		frame_addFloat(&frame, ControlOutputData2.actuation.escRightNewtons);
			  		frame_addFloat(&frame, ControlOutputData2.actuation.escLeftNewtons);
			  		frame_addFloat(&frame, ControlOutputData2.actuation.servoRight);
			  		frame_addFloat(&frame, ControlOutputData2.actuation.servoLeft);
			  		frame_addFloat(&frame, low);
			  		frame_build(&frame);
			  		usart_print(&huart6,frame.buffer,frame.buffer_size);
			  	}
			  	}
			}
			cont++;
			cont = cont%500;
		  vTaskDelayUntil( &lastWakeTime, (MODULE_PERIOD / portTICK_RATE_MS));
	  }
  /* USER CODE END Controller */
}

void HAL_TIM_PeriodElapsedCallback(TIM_HandleTypeDef *htim)
{
  if (htim->Instance == TIM1) {
    HAL_IncTick();
  }
}

void Error_Handler(void)
{
}

/************************ (C) COPYRIGHT STMicroelectronics *****END OF FILE****/
